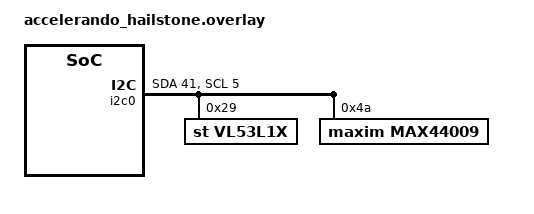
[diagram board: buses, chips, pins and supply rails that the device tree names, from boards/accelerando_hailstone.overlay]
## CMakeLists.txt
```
# SPDX-License-Identifier: Apache-2.0

cmake_minimum_required(VERSION 3.20.0)
find_package(Zephyr REQUIRED HINTS $ENV{ZEPHYR_BASE})
project(vl53l1x)

FILE(GLOB app_sources src/*.c)
target_sources(app PRIVATE ${app_sources})
```

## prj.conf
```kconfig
CONFIG_STDOUT_CONSOLE=y
CONFIG_I2C=y
CONFIG_GPIO=y
CONFIG_SENSOR=y
CONFIG_VL53L1X=y
CONFIG_VL53L1X_PROXIMITY_THRESHOLD=100

#debug
#CONFIG_DEBUG=y
#CONFIG_LOG=y
#CONFIG_SENSOR_LOG_LEVEL_DBG=y
CONFIG_CBPRINTF_FP_SUPPORT=y
```

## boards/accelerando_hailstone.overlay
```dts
&i2c0 {
	status = "okay";
	sda-pin = <41>;
	scl-pin = <5>;

	vl53l1x@29 {
		compatible = "st,vl53l1x";
		reg = <0x29>;
		label = "VL53L1X";
	};
	max44009@4a {
                compatible = "maxim,max44009";
                reg = <0x4a>;
                label = "MAX44009";
        };
};

&i2c1 {
	status = "disabled";
	sda-pin = <30>;
	scl-pin = <31>;
};
```

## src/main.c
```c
/*
 * Copyright (c) 2017 STMicroelectronics
 *
 * SPDX-License-Identifier: Apache-2.0
 */

#include <zephyr.h>
#include <device.h>
#include <drivers/sensor.h>
#include <stdio.h>
#include <sys/printk.h>

void main(void)
{
	const struct device *dev = device_get_binding(DT_LABEL(DT_INST(0, st_vl53l1x)));
	struct sensor_value value;
	int ret;

	if (dev == NULL) {
		printk("Could not get VL53L1X device\n");
		return;
	}

	while (1) {
		ret = sensor_sample_fetch(dev);
		if (ret) {
			printk("sensor_sample_fetch failed ret %d\n", ret);
			return;
		}

		ret = sensor_channel_get(dev, SENSOR_CHAN_PROX, &value);
		printk("prox is %d\n", value.val1);

		ret = sensor_channel_get(dev,
					 SENSOR_CHAN_DISTANCE,
					 &value);
		printf("distance is %.3fm\n", sensor_value_to_double(&value));

		k_sleep(K_MSEC(1000));
	}
}
```
